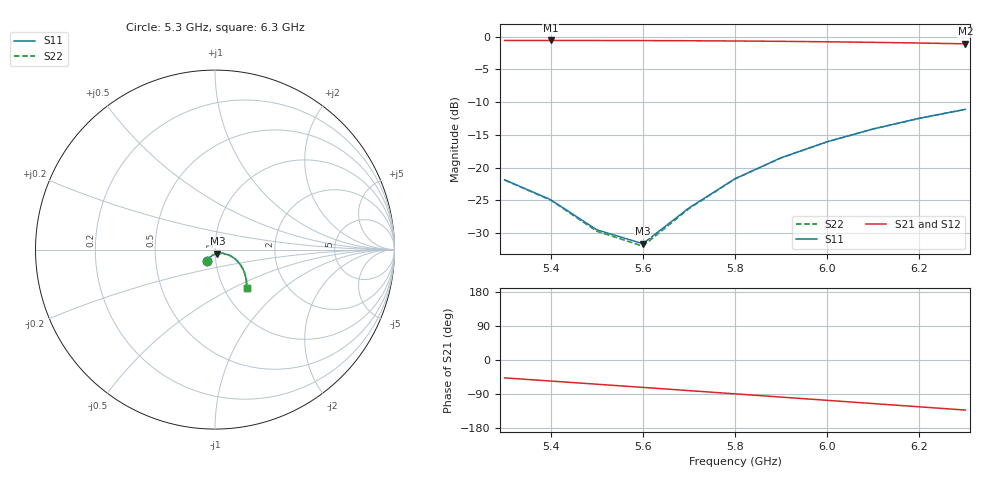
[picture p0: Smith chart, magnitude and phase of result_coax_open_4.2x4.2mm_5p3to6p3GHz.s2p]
! F05: W=4.2, L=4.2 mm; original tapers; L3 intact
! 11 direct frequencies 5.3-6.3 GHz; coax reference planes; connectors included
# Hz S RI R 50
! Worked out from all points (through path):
!   11 points, 5.3 GHz to 6.3 GHz, reference 50 ohm
!   highest |S21| = -0.59 dB at 5.4 GHz (marker M1); lowest = -1.1 dB at 6.3 GHz (marker M2)
!   lowest |S11| = -31.6 dB at 5.6 GHz (marker M3), VSWR 1.05, Z = 51.4 - j2.29 ohm
!   |S11| at or under -10 dB: start of sweep to end of sweep
!   |S22| runs from -32.0 to -11.1 dB; largest |S21 - S12| = 1e-12
5.3e9  -0.0467 -0.0657  0.6345 -0.6854  0.6345 -0.6854  -0.0468 -0.0652
5.4e9  -0.0329 -0.0462  0.5288 -0.7701  0.5288 -0.7701  -0.0331 -0.0455
5.5e9  -0.0124 -0.0311  0.4109 -0.8383  0.4109 -0.8383  -0.0126 -0.0301
5.6e9  0.0138 -0.0223  0.2833 -0.8879  0.2833 -0.8879  0.0137 -0.021
5.7e9  0.0441 -0.0215  0.1491 -0.9173  0.1491 -0.9173  0.0442 -0.02
5.8e9  0.0764 -0.0301  0.0116 -0.9253  0.0116 -0.9253  0.0767 -0.0283
5.9e9  0.1082 -0.0488  -0.1254 -0.9112  -0.1254 -0.9112  0.1088 -0.0469
6e9  0.1367 -0.0777  -0.2578 -0.8754  -0.2578 -0.8754  0.1376 -0.0758
6.1e9  0.1592 -0.1162  -0.3818 -0.819  -0.3818 -0.819  0.1605 -0.1142
6.2e9  0.1732 -0.1628  -0.4937 -0.7439  -0.4937 -0.7439  0.1747 -0.1608
6.3e9  0.1763 -0.2152  -0.5905 -0.653  -0.5905 -0.653  0.1783 -0.2134
